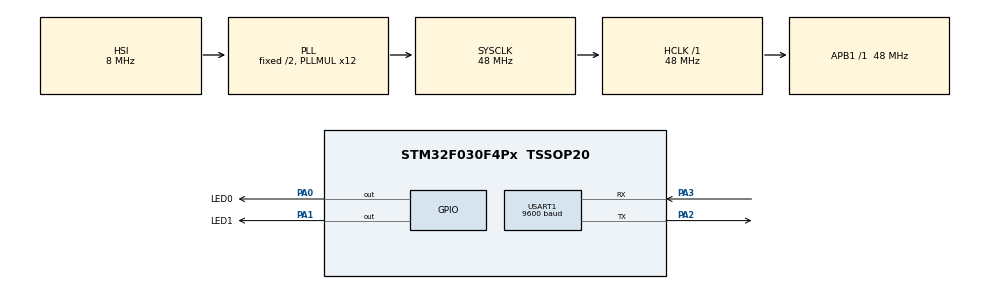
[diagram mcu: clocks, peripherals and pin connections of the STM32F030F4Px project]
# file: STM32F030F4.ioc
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Dma.Request0=USART1_RX
Dma.Request1=USART1_TX
Dma.USART1_RX.0.Direction=DMA_PERIPH_TO_MEMORY
Dma.USART1_RX.0.Instance=DMA1_Channel3
Dma.USART1_RX.0.MemDataAlignment=DMA_MDATAALIGN_BYTE
Dma.USART1_RX.0.MemInc=DMA_MINC_ENABLE
Dma.USART1_RX.0.Mode=DMA_NORMAL
Dma.USART1_RX.0.PeriphDataAlignment=DMA_PDATAALIGN_BYTE
Dma.USART1_RX.0.PeriphInc=DMA_PINC_DISABLE
Dma.USART1_RX.0.Priority=DMA_PRIORITY_LOW
Dma.USART1_TX.1.Direction=DMA_MEMORY_TO_PERIPH
Dma.USART1_TX.1.Instance=DMA1_Channel2
Dma.USART1_TX.1.MemDataAlignment=DMA_MDATAALIGN_BYTE
Dma.USART1_TX.1.MemInc=DMA_MINC_ENABLE
Dma.USART1_TX.1.Mode=DMA_NORMAL
Dma.USART1_TX.1.PeriphDataAlignment=DMA_PDATAALIGN_BYTE
Dma.USART1_TX.1.PeriphInc=DMA_PINC_DISABLE
Dma.USART1_TX.1.Priority=DMA_PRIORITY_LOW
Mcu.Family=STM32F0
Mcu.Name=STM32F030F4Px
Mcu.Package=TSSOP20
NVIC.DMA1_Channel2_3_IRQn=true\:0\:0\:false\:false\:true\:false\:true
NVIC.USART1_IRQn=true\:0\:0\:false\:false\:true\:true\:true
PA0.GPIO_Label=LED0
PA0.Signal=GPIO_Output
PA1.GPIO_Label=LED1
PA1.Signal=GPIO_Output
PA2.Mode=Asynchronous
PA2.Signal=USART1_TX
PA3.Mode=Asynchronous
PA3.Signal=USART1_RX
ProjectManager.HeapSize=0x200
ProjectManager.StackSize=0x400
ProjectManager.TargetToolchain=MDK-ARM V5.27
RCC.AHBFreq_Value=48000000
RCC.APB1Freq_Value=48000000
RCC.APB1TimFreq_Value=48000000
RCC.HCLKFreq_Value=48000000
RCC.PLLMUL=RCC_PLL_MUL12
RCC.SYSCLKFreq_VALUE=48000000
RCC.SYSCLKSource=RCC_SYSCLKSOURCE_PLLCLK
USART1.BaudRate=9600
USART1.VirtualMode-Asynchronous=VM_ASYNC
board=custom

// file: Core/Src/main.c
/* USER CODE BEGIN Header */
/**
  ******************************************************************************
  * @file           : main.c
  * @brief          : Main program body
  ******************************************************************************
  * @attention
  *
  * <h2><center>&copy; Copyright (c) 2022 STMicroelectronics.
  * All rights reserved.</center></h2>
  *
  * This software component is licensed by ST under BSD 3-Clause license,
  * the "License"; You may not use this file except in compliance with the
  * License. You may obtain a copy of the License at:
  *                        opensource.org/licenses/BSD-3-Clause
  *
  ******************************************************************************
  */
/* USER CODE END Header */
#include "main.h"

/* USER CODE BEGIN Includes */
#include "UARTStream.h"
#include "CmdManager.h"
#include "Commands.h"
//#include <stdio.h>
/* USER CODE END Includes */

UART_HandleTypeDef huart1;
DMA_HandleTypeDef hdma_usart1_rx;
DMA_HandleTypeDef hdma_usart1_tx;

/* USER CODE BEGIN PV */
static uint8_t	streamRxBuff[256];
static uint8_t	streamTxBuff[256];

static UARTStream stream;
static CmdManager cmdManager;
/* USER CODE END PV */

void SystemClock_Config(void);
static void MX_GPIO_Init(void);
static void MX_DMA_Init(void);
static void MX_USART1_UART_Init(void);
/* USER CODE BEGIN PFP */
void Manager_onNotFound(CmdManager* manager, char* str);
void Manager_onOverflow(CmdManager* manager);

//void Manager_printCommands(CmdManager* manager);
/* USER CODE END PFP */

int main(void)
{

  /* MCU Configuration--------------------------------------------------------*/

  /* Reset of all peripherals, Initializes the Flash interface and the Systick. */
  HAL_Init();

  /* Configure the system clock */
  SystemClock_Config();

  /* Initialize all configured peripherals */
  MX_GPIO_Init();
  MX_DMA_Init();
  MX_USART1_UART_Init();
  /* USER CODE BEGIN 2 */
  UARTStream_init(&stream, &huart1, &hdma_usart1_rx, &hdma_usart1_tx, streamRxBuff, sizeof(streamRxBuff), streamTxBuff, sizeof(streamTxBuff));
  CmdManager_init(&cmdManager, Commands_get(), Commands_len());
  CmdManager_setArgs(&cmdManager, &stream);
  CmdManager_onNotFound(&cmdManager, Manager_onNotFound);
  CmdManager_onOverflow(&cmdManager, Manager_onOverflow);
  /* USER CODE END 2 */

  /* Infinite loop */
  /* USER CODE BEGIN WHILE */
  OStream_writeBytes(&stream.Output, (uint8_t*) "Running...\r\n", 12);
  OStream_flush(&stream.Output);
  //Manager_printCommands(&cmdManager);
  IStream_receive(&stream.Input);
  while (1)
  {
    CmdManager_handle(&cmdManager, &stream.Input);
    /* USER CODE END WHILE */

  }
}

void SystemClock_Config(void)
{
  RCC_OscInitTypeDef RCC_OscInitStruct = {0};
  RCC_ClkInitTypeDef RCC_ClkInitStruct = {0};
  RCC_PeriphCLKInitTypeDef PeriphClkInit = {0};

  /** Initializes the RCC Oscillators according to the specified parameters
  * in the RCC_OscInitTypeDef structure.
  */
  RCC_OscInitStruct.OscillatorType = RCC_OSCILLATORTYPE_HSI;
  RCC_OscInitStruct.HSIState = RCC_HSI_ON;
  RCC_OscInitStruct.HSICalibrationValue = RCC_HSICALIBRATION_DEFAULT;
  RCC_OscInitStruct.PLL.PLLState = RCC_PLL_ON;
  RCC_OscInitStruct.PLL.PLLSource = RCC_PLLSOURCE_HSI;
  RCC_OscInitStruct.PLL.PLLMUL = RCC_PLL_MUL12;
  RCC_OscInitStruct.PLL.PREDIV = RCC_PREDIV_DIV1;
  if (HAL_RCC_OscConfig(&RCC_OscInitStruct) != HAL_OK)
  {
    Error_Handler();
  }
  /** Initializes the CPU, AHB and APB buses clocks
  */
  RCC_ClkInitStruct.ClockType = RCC_CLOCKTYPE_HCLK|RCC_CLOCKTYPE_SYSCLK
                              |RCC_CLOCKTYPE_PCLK1;
  RCC_ClkInitStruct.SYSCLKSource = RCC_SYSCLKSOURCE_PLLCLK;
  RCC_ClkInitStruct.AHBCLKDivider = RCC_SYSCLK_DIV1;
  RCC_ClkInitStruct.APB1CLKDivider = RCC_HCLK_DIV1;

  if (HAL_RCC_ClockConfig(&RCC_ClkInitStruct, FLASH_LATENCY_1) != HAL_OK)
  {
    Error_Handler();
  }
  PeriphClkInit.PeriphClockSelection = RCC_PERIPHCLK_USART1;
  PeriphClkInit.Usart1ClockSelection = RCC_USART1CLKSOURCE_PCLK1;
  if (HAL_RCCEx_PeriphCLKConfig(&PeriphClkInit) != HAL_OK)
  {
    Error_Handler();
  }
}

static void MX_USART1_UART_Init(void)
{

  huart1.Instance = USART1;
  huart1.Init.BaudRate = 9600;
  huart1.Init.WordLength = UART_WORDLENGTH_8B;
  huart1.Init.StopBits = UART_STOPBITS_1;
  huart1.Init.Parity = UART_PARITY_NONE;
  huart1.Init.Mode = UART_MODE_TX_RX;
  huart1.Init.HwFlowCtl = UART_HWCONTROL_NONE;
  huart1.Init.OverSampling = UART_OVERSAMPLING_16;
  huart1.Init.OneBitSampling = UART_ONE_BIT_SAMPLE_DISABLE;
  huart1.AdvancedInit.AdvFeatureInit = UART_ADVFEATURE_NO_INIT;
  if (HAL_UART_Init(&huart1) != HAL_OK)
  {
    Error_Handler();
  }

}

static void MX_DMA_Init(void)
{

  /* DMA controller clock enable */
  __HAL_RCC_DMA1_CLK_ENABLE();

  /* DMA interrupt init */
  /* DMA1_Channel2_3_IRQn interrupt configuration */
  HAL_NVIC_SetPriority(DMA1_Channel2_3_IRQn, 0, 0);
  HAL_NVIC_EnableIRQ(DMA1_Channel2_3_IRQn);

}

static void MX_GPIO_Init(void)
{
  GPIO_InitTypeDef GPIO_InitStruct = {0};

  /* GPIO Ports Clock Enable */
  __HAL_RCC_GPIOA_CLK_ENABLE();

  /*Configure GPIO pin Output Level */
  HAL_GPIO_WritePin(GPIOA, LED0_Pin|LED1_Pin, GPIO_PIN_RESET);

  /*Configure GPIO pins : LED0_Pin LED1_Pin */
  GPIO_InitStruct.Pin = LED0_Pin|LED1_Pin;
  GPIO_InitStruct.Mode = GPIO_MODE_OUTPUT_PP;
  GPIO_InitStruct.Pull = GPIO_NOPULL;
  GPIO_InitStruct.Speed = GPIO_SPEED_FREQ_LOW;
  HAL_GPIO_Init(GPIOA, &GPIO_InitStruct);

}

/* USER CODE BEGIN 4 */
/*void Manager_printCommands(CmdManager* manager) {
  char str[64];
  int i;
  int len;
  UARTStream* uartStream = CmdManager_getArgs(manager);

  for (i= 0; i < manager->List.Len; i++) {
    len = sprintf(str, "{{%s, %d}, %X}\n",
      CmdList_get(manager->List.Cmds, i)->CmdName.Text,
      CmdList_get(manager->List.Cmds, i)->CmdName.Len,
      CmdList_get(manager->List.Cmds, i)->Types.Flags
    );
    OStream_writeBytes(&uartStream->Output, (uint8_t*) str, len);
    OStream_flush(&uartStream->Output);
  }
}*/
void Manager_onNotFound(CmdManager* manager, char* str) {
  static const char NOTFOUND[] = "NOT FOUND:";

  UARTStream* uartStream = CmdManager_getArgs(manager);

  OStream_writeBytes(&uartStream->Output, (uint8_t*) NOTFOUND, sizeof(NOTFOUND) - 1);
  OStream_writeBytes(&uartStream->Output, (uint8_t*) str, Str_len(str));
  OStream_writeBytes(&uartStream->Output, (uint8_t*) "\r\n", 2);
  OStream_flush(&uartStream->Output);
}
void Manager_onOverflow(CmdManager* manager) {
  static const char OVERFLOW[] = "\r\nOVERFLOW\r\n";

  UARTStream* uartStream = CmdManager_getArgs(manager);

  OStream_writeBytes(&uartStream->Output, (uint8_t*) OVERFLOW, sizeof(OVERFLOW) - 1);
  OStream_flush(&uartStream->Output);
}

void HAL_UART_TxCpltCallback(UART_HandleTypeDef *huart) {
	switch ((uint32_t) huart->Instance) {
		case USART1_BASE:
			UARTStream_txHandle(&stream);
			break;
	}
}
void HAL_UART_RxCpltCallback(UART_HandleTypeDef *huart) {
	switch ((uint32_t) huart->Instance) {
		case USART1_BASE:
			UARTStream_rxHandle(&stream);
			break;
	}
}
/* USER CODE END 4 */

void Error_Handler(void)
{
  __disable_irq();
  while (1)
  {
  }
}

/************************ (C) COPYRIGHT STMicroelectronics *****END OF FILE****/
